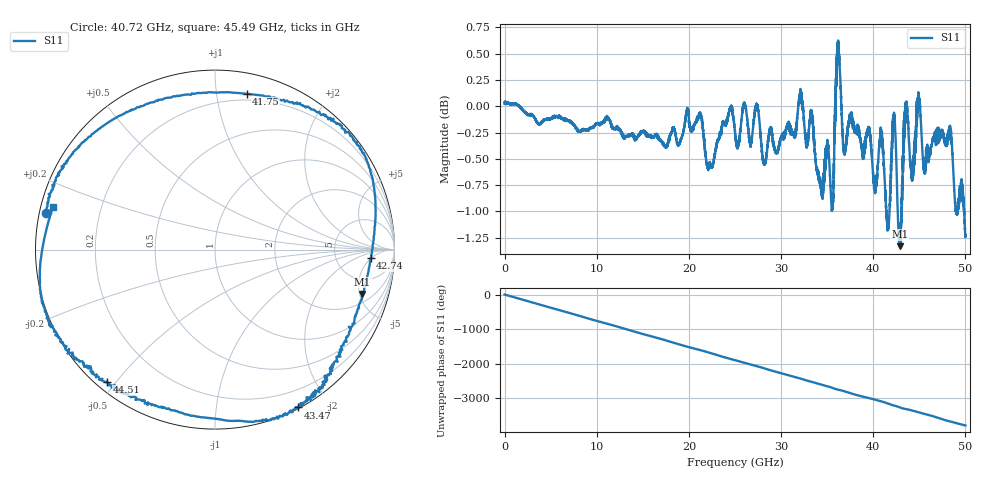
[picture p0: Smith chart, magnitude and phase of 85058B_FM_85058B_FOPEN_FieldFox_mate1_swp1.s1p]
!Created with skrf (http://scikit-rf.org).
# Hz S RI R 50.0
!freq ReS11 ImS11
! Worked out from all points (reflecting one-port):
!   10001 points, 300 kHz to 50 GHz, reference 50 ohm
!   lowest |S11| = -1.3 dB at 42.87 GHz (marker M1), VSWR 13.09, Z = 142 - j266 ohm
!   phase of S11 starts at 0 deg and turns -3778 deg over the sweep
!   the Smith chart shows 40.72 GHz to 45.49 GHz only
!   S11 on the Smith chart (normalised r, x): 40.72 GHz: 0.02, +0.11; 41.75 GHz: 0.15, +1.21; 42.74 GHz: 12, -5; 43.47 GHz: 0.01, -1.66; 44.51 GHz: 0.03, -0.47; 45.49 GHz: 0.03, +0.13
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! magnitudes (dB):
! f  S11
! 300 kHz  0.0
! 6.25 GHz  -0.1
! 12.5 GHz  -0.2
! 18.75 GHz  -0.4
! 21.18 GHz  -0.1
! 22.32 GHz  -0.5
! 25 GHz  -0.2
! 31.25 GHz  -0.3
! 32.15 GHz  0.1
! 35.49 GHz  -1.0
! 36.18 GHz  0.6
! 36.86 GHz  -0.5
! 37.5 GHz  -0.1
! 39.52 GHz  -0.2
! 40.2 GHz  -0.8
! 40.72 GHz  -0.3
! 41.75 GHz  -1.1
! 42.26 GHz  -0.1
! 42.74 GHz  -1.2
! 42.87 GHz  -1.3
! 43.47 GHz  -0.1
! 43.75 GHz  -0.1
! 44.51 GHz  -0.4
! 44.94 GHz  0.1
! 45.49 GHz  -0.6
! 48.3 GHz  -0.3
! 48.98 GHz  -1.0
! 50 GHz  -1.2
